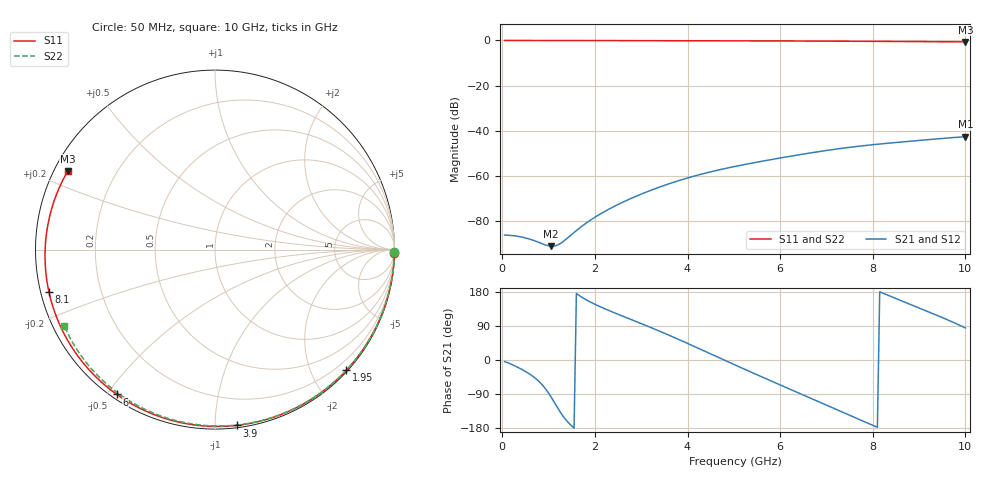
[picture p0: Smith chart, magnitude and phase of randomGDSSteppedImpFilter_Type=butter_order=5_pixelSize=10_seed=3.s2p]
! freq	dB(S11)	phase(S11)	dB(S12)	phase(S12)
!  dB(S21)	phase(S21)	dB(S22)	phase(S22)
!S-par simulation data
#  GHz  S  DB  R 50
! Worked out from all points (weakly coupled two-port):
!   200 points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, 50 MHz to 10 GHz, reference 50 ohm
!   highest |S21| = -42.74 dB at 10 GHz (marker M1); lowest = -91.3 dB at 1.05 GHz (marker M2)
!   lowest |S11| = -0.6 dB at 10 GHz (marker M3), VSWR 27.57, Z = 1.93 + j12.4 ohm
!   |S11| at or under -10 dB: nowhere
!   |S22| runs from -0.5 to 0.0 dB; largest |S21 - S12| = 0
!   S11 on the Smith chart (normalised r, x): 50 MHz: open; 1.95 GHz: 0.02, -2.56; 3.9 GHz: 0.02, -1.13; 6 GHz: 0.02, -0.53; 8.1 GHz: 0.02, -0.12; 10 GHz: 0.04, +0.25
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0.05  -0.00 -1.1  -86.39 -4.3  -86.39 -4.3  -0.00 -0.9
0.55  -0.01 -12.2  -87.93 -33.9  -87.93 -33.9  -0.01 -9.4
1.05  -0.03 -23.2  -91.31 -96.8  -91.31 -96.8  -0.02 -17.8
1.75  -0.05 -38.3  -81.99 163.2  -81.99 163.2  -0.04 -29.4
1.9  -0.05 -41.5  -79.81 153.0  -79.81 153.0  -0.04 -31.9
1.95  -0.05 -42.6  -79.13 149.9  -79.13 149.9  -0.04 -32.7
2.25  -0.06 -49.0  -75.46 133.3  -75.46 133.3  -0.05 -37.6
2.6  -0.07 -56.3  -71.80 115.7  -71.80 115.7  -0.06 -43.3
3  -0.08 -64.6  -68.20 96.1  -68.20 96.1  -0.07 -49.8
3.4  -0.10 -72.8  -65.05 75.9  -65.05 75.9  -0.08 -56.1
3.9  -0.11 -83.0  -61.66 49.3  -61.66 49.3  -0.09 -64.0
4.45  -0.14 -93.9  -58.56 18.9  -58.56 18.9  -0.11 -72.4
5.05  -0.16 -105.7  -55.81 -14.4  -55.81 -14.4  -0.13 -81.5
6  -0.22 -124.2  -52.17 -65.7  -52.17 -65.7  -0.17 -95.6
6.7  -0.27 -137.8  -49.77 -103.1  -49.77 -103.1  -0.21 -105.8
7.4  -0.33 -151.6  -47.70 -140.7  -47.70 -140.7  -0.26 -115.8
8.1  -0.40 -165.8  -46.07 -177.5  -46.07 -177.5  -0.32 -125.8
8.35  -0.43 -171.0  -45.58 169.8  -45.58 169.8  -0.34 -129.3
8.8  -0.48 179.5  -44.75 147.3  -44.75 147.3  -0.38 -135.7
9.2  -0.53 170.6  -44.02 127.4  -44.02 127.4  -0.43 -141.5
9.6  -0.58 161.5  -43.32 106.9  -43.32 106.9  -0.47 -147.2
10  -0.63 152.0  -42.74 84.7  -42.74 84.7  -0.52 -153.1
